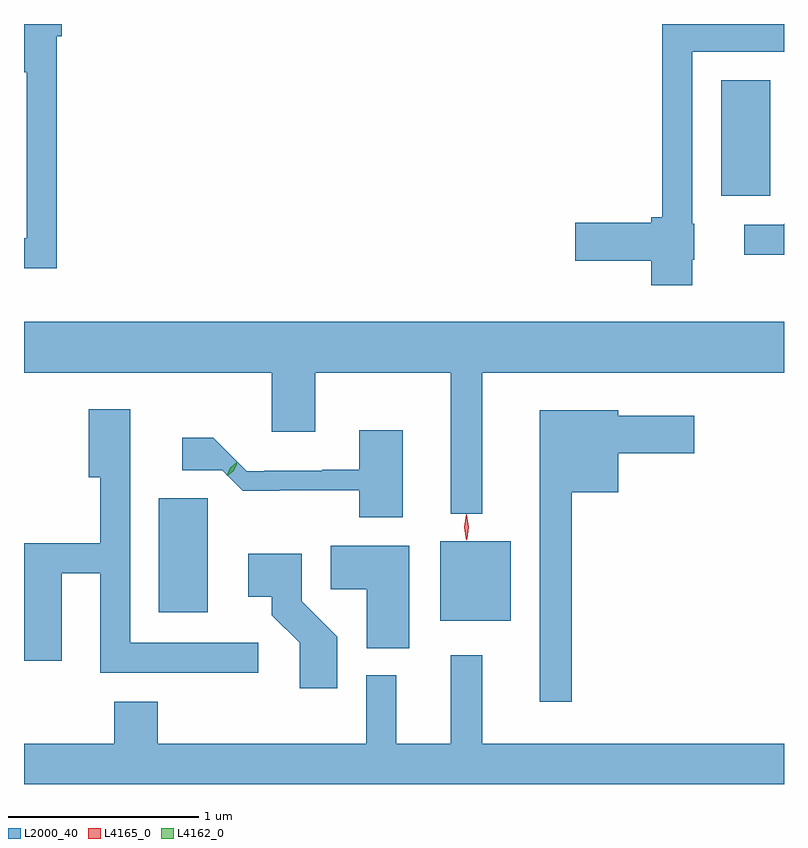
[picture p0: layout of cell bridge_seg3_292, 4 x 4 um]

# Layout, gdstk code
import gdstk
lib = gdstk.Library(unit=1e-6, precision=1e-09)
def R(c, l, rs):  # rectangles x0, y0, x1, y1
    for r in rs: c.add(gdstk.rectangle(r[:2], r[2:], *l))
def P(c, l, *ps):  # polygons
    for p in ps: c.add(gdstk.Polygon(p, *l))
L2000_40 = (2000, 40)
L4162_0 = (4162, 0)
L4165_0 = (4165, 0)

bridge_seg3_292 = lib.new_cell('bridge_seg3_292')
R(bridge_seg3_292, L2000_40, [(1103.296,1144.691,1103.669,1145.109), (1101.816,1144.736,1102.074,1145.334), (1104.776,1146.926,1105.034,1147.534)])
P(bridge_seg3_292, L2000_40, [(1104.624,1146.59),(1104.634,1146.59),(1104.634,1146.78),(1104.624,1146.78),(1104.624,1147.686),(1105.106,1147.686),(1105.106,1147.831),(1104.466,1147.831),(1104.466,1146.814),(1104.406,1146.814),(1104.406,1146.784),(1104.006,1146.784),(1104.006,1146.586),(1104.406,1146.586),(1104.406,1146.456),(1104.624,1146.456)],
  [(1101.279,1147.766),(1101.304,1147.766),(1101.304,1147.831),(1101.106,1147.831),(1101.106,1147.576),(1101.121,1147.576),(1101.121,1146.704),(1101.106,1146.704),(1101.106,1146.546),(1101.279,1146.546)],
  [(1105.106,1146.781),(1105.099,1146.774),(1104.898,1146.774),(1104.898,1146.616),(1105.106,1146.616)],
  [(1103.519,1145.996),(1105.106,1145.996),(1105.106,1146.264),(1101.106,1146.264),(1101.106,1145.996),(1102.411,1145.996),(1102.411,1145.686),(1102.639,1145.686),(1102.639,1145.996),(1103.351,1145.996),(1103.351,1145.253),(1103.519,1145.253)],
  [(1102.338,1144.574),(1101.664,1144.574),(1101.664,1145.804),(1101.446,1145.804),(1101.446,1145.446),(1101.506,1145.446),(1101.506,1145.099),(1101.106,1145.099),(1101.106,1144.481),(1101.304,1144.481),(1101.304,1144.941),(1101.506,1144.941),(1101.506,1144.416),(1102.338,1144.416)],
  [(1103.989,1145.366),(1104.234,1145.366),(1104.234,1145.571),(1104.634,1145.571),(1104.634,1145.769),(1104.234,1145.769),(1104.234,1145.799),(1103.821,1145.799),(1103.821,1144.263),(1103.989,1144.263)],
  [(1103.099,1145.694),(1102.871,1145.694),(1102.871,1145.484),(1102.675,1145.484),(1102.675,1145.481),(1102.37,1145.481),(1102.37,1145.477),(1102.279,1145.477),(1102.103,1145.653),(1101.938,1145.653),(1101.938,1145.482),(1102.149,1145.482),(1102.257,1145.374),(1102.45,1145.374),(1102.45,1145.376),(1102.871,1145.376),(1102.871,1145.236),(1103.099,1145.236)],
  [(1103.134,1145.084),(1102.721,1145.084),(1102.721,1144.856),(1102.911,1144.856),(1102.911,1144.546),(1103.134,1144.546)],
  [(1102.754,1144.607),(1102.569,1144.792),(1102.569,1145.044),(1102.286,1145.044),(1102.286,1144.816),(1102.411,1144.816),(1102.411,1144.719),(1102.556,1144.574),(1102.556,1144.336),(1102.754,1144.336)],
  [(1105.106,1144.044),(1103.519,1144.044),(1103.519,1144.508),(1103.351,1144.508),(1103.351,1144.044),(1103.064,1144.044),(1103.064,1144.403),(1102.906,1144.403),(1102.906,1144.044),(1101.809,1144.044),(1101.809,1144.264),(1101.581,1144.264),(1101.581,1144.044),(1101.106,1144.044),(1101.106,1143.831),(1105.106,1143.831)])
P(bridge_seg3_292, L4162_0, [(1102.173,1145.454),(1102.173,1145.454),(1102.192,1145.495),(1102.226,1145.524),(1102.227,1145.524),(1102.227,1145.523),(1102.208,1145.483),(1102.174,1145.454)],
  [(1102.179,1145.457),(1102.179,1145.458),(1102.195,1145.493),(1102.226,1145.516),(1102.226,1145.516),(1102.226,1145.515),(1102.211,1145.48),(1102.18,1145.457)])
P(bridge_seg3_292, L4165_0, [(1103.433,1145.114),(1103.424,1145.182),(1103.433,1145.25),(1103.434,1145.25),(1103.434,1145.25),(1103.444,1145.182),(1103.434,1145.114),(1103.434,1145.114)],
  [(1103.438,1145.118),(1103.437,1145.119),(1103.428,1145.183),(1103.436,1145.247),(1103.437,1145.247),(1103.437,1145.247),(1103.447,1145.183),(1103.438,1145.119)])

lib.write_gds('bridge_seg3_292.gds')
